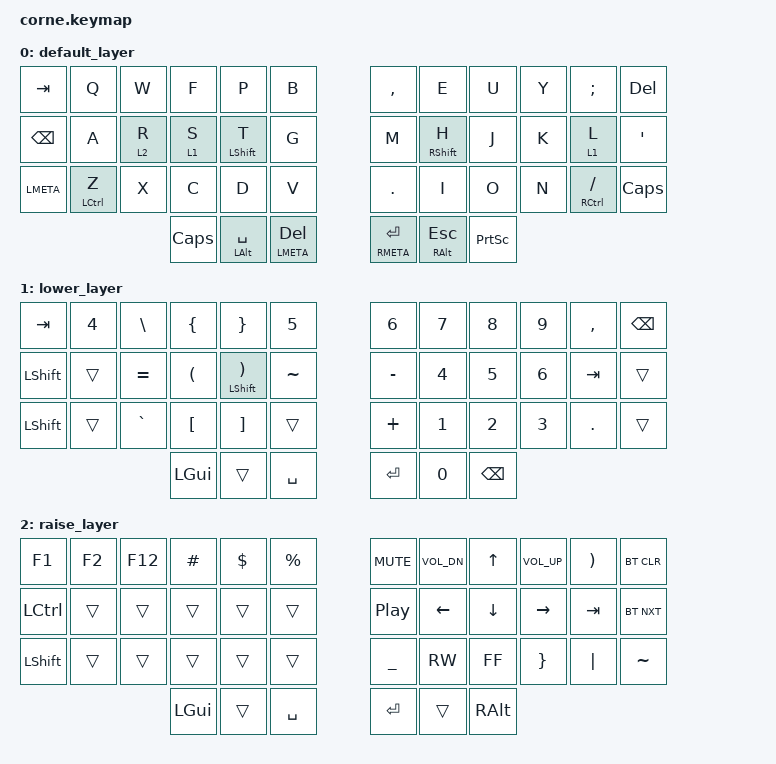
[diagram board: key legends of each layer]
/*
 * Copyright (c) 2020 The ZMK Contributors
 *
 * SPDX-License-Identifier: MIT
 */

#include <behaviors.dtsi>
#include <dt-bindings/zmk/keys.h>
#include <dt-bindings/zmk/bt.h>

/ {
        keymap {
                compatible = "zmk,keymap";

                default_layer {
// -----------------------------------------------------------------------------------------
// |  TAB |  Q  |  W  |  F  |  P  |  T  |   |  N  |  E   |  U  |  Y  |  ;  | BKSP |
// | CTRL |  A  |  R  |  S  |  T  |  G  |   |  M  |  H   |  J  |  K  |  L  |  '   |
// | SHFT |  Z  |  X  |  C  |  D  |  V  |   |  N  |  I   |  ,  |  .  |  /  | ESC  |
//                    | GUI | LWR | SPC |   | ENT | RSE  | ALT |
                        bindings = <
   &kp TAB   &kp Q       &kp W   &kp F         &kp P       &kp B   &kp COMMA &kp E        &kp U     &kp Y   &kp SEMI   &kp DEL 
   &kp BSPC  &kp A       &lt 2 R &lt 1 S       &mt LSHFT T &kp G   &kp M &mt RSHFT H  &kp J     &kp K         &lt 1 L           &kp SQT
   &kp LMETA &mt LCTRL Z &kp X   &kp C         &kp D  &kp V   &kp DOT &kp I   &kp O &kp N       &mt RCTRL FSLH  &kp CAPS
                  &kp CAPS &mt LALT SPACE  &mt LMETA DEL                  &mt RMETA  RET &mt RALT  ESC &kp PSCRN
                        >;
                };
                lower_layer {
// -----------------------------------------------------------------------------------------
// |  TAB |  1  |  2  |  3  |  4  |  5  |   |  6  |  7  |  8  |  9  |  0  | BKSP |
// | BTCLR| BT1 | BT2 | BT3 | BT4 | BT5 |   | LFT | DWN |  UP | RGT |     |      |
// | SHFT |     |     |     |     |     |   |     |     |     |     |     |      |
//                    | GUI |     | SPC |   | ENT |     | ALT |
                        bindings = <
   &kp TAB   &kp N4 &kp BSLH   &kp LBRC &kp RBRC &kp N5     &kp N6    &kp N7 &kp N8 &kp N9 &kp COMMA &kp BSPC
   &kp LSHFT &trans &kp EQUAL  &kp LPAR &mt LSHFT RPAR &kp TILDE  &kp MINUS &kp N4 &kp N5 &kp N6 &kp TAB &trans
   &kp LSHFT &trans &kp GRAVE  &kp LBKT &kp RBKT &trans     &kp PLUS  &kp N1 &kp N2 &kp N3 &kp DOT &trans
                &kp LGUI &trans &kp SPACE     &kp RET  &kp N0   &kp BSPC
                        >;
                };

                raise_layer {
// -----------------------------------------------------------------------------------------
// |  TAB |  !  |  @  |  #  |  $  |  %  |   |  ^  |  &  |  *  |  (  |  )  | BKSP |
// | CTRL |     |     |     |     |     |   |  -  |  =  |  [  |  ]  |  \  |  `   |
// | SHFT |     |     |     |     |     |   |  _  |  +  |  {  |  }  | "|" |  ~   |
//                    | GUI |     | SPC |   | ENT |     | ALT |
                        bindings = <
   &kp F1   &kp F2 &kp F12 &kp HASH &kp DLLR &kp PRCNT     &kp C_MUTE &kp C_VOL_DN  &kp UP    &kp C_VOL_UP &kp RPAR &bt BT_CLR
   &kp LCTRL &trans   &trans &trans   &trans   &trans      &kp C_PP &kp LEFT  &kp DOWN  &kp RIGHT &kp TAB &bt BT_NXT
   &kp LSHFT &trans   &trans &trans   &trans   &trans      &kp UNDER &kp C_RW  &kp C_FF  &kp RBRC &kp PIPE &kp TILDE
                    	     &kp LGUI &trans   &kp SPACE   &kp RET   &trans    &kp RALT
                        >;
                };
        };
};
